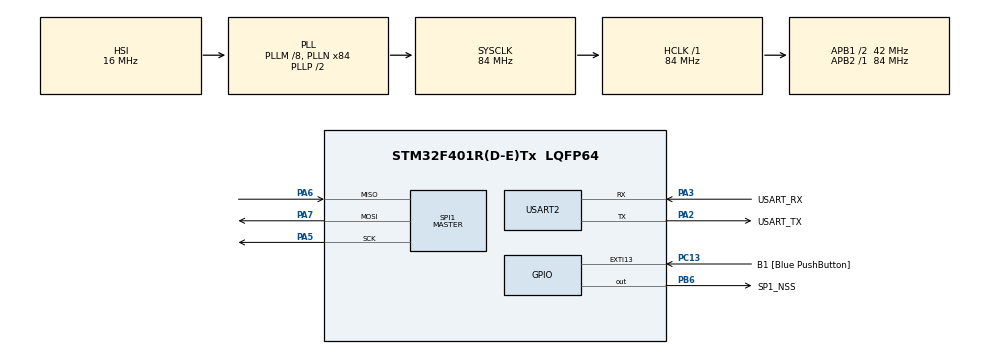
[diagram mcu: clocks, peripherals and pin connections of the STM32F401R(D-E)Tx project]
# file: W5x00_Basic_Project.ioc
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Dma.Request0=SPI1_RX
Dma.Request1=SPI1_TX
Dma.SPI1_RX.0.Direction=DMA_PERIPH_TO_MEMORY
Dma.SPI1_RX.0.FIFOMode=DMA_FIFOMODE_DISABLE
Dma.SPI1_RX.0.Instance=DMA2_Stream0
Dma.SPI1_RX.0.MemDataAlignment=DMA_MDATAALIGN_BYTE
Dma.SPI1_RX.0.MemInc=DMA_MINC_ENABLE
Dma.SPI1_RX.0.Mode=DMA_NORMAL
Dma.SPI1_RX.0.PeriphDataAlignment=DMA_PDATAALIGN_BYTE
Dma.SPI1_RX.0.PeriphInc=DMA_PINC_DISABLE
Dma.SPI1_RX.0.Priority=DMA_PRIORITY_LOW
Dma.SPI1_TX.1.Direction=DMA_MEMORY_TO_PERIPH
Dma.SPI1_TX.1.FIFOMode=DMA_FIFOMODE_DISABLE
Dma.SPI1_TX.1.Instance=DMA2_Stream3
Dma.SPI1_TX.1.MemDataAlignment=DMA_MDATAALIGN_BYTE
Dma.SPI1_TX.1.MemInc=DMA_MINC_ENABLE
Dma.SPI1_TX.1.Mode=DMA_NORMAL
Dma.SPI1_TX.1.PeriphDataAlignment=DMA_PDATAALIGN_BYTE
Dma.SPI1_TX.1.PeriphInc=DMA_PINC_DISABLE
Dma.SPI1_TX.1.Priority=DMA_PRIORITY_LOW
Mcu.Family=STM32F4
Mcu.Name=STM32F401R(D-E)Tx
Mcu.Package=LQFP64
NVIC.DMA2_Stream0_IRQn=true\:0\:0\:false\:false\:true\:false\:true
NVIC.DMA2_Stream3_IRQn=true\:0\:0\:false\:false\:true\:false\:true
NVIC.PriorityGroup=NVIC_PRIORITYGROUP_0
PA13.GPIO_Label=TMS
PA13.Signal=SYS_JTMS-SWDIO
PA14.GPIO_Label=TCK
PA14.Signal=SYS_JTCK-SWCLK
PA2.GPIO_Label=USART_TX
PA2.GPIO_Mode=GPIO_MODE_AF_PP
PA2.GPIO_PuPd=GPIO_NOPULL
PA2.GPIO_Speed=GPIO_SPEED_FREQ_LOW
PA2.Mode=Asynchronous
PA2.Signal=USART2_TX
PA3.GPIO_Label=USART_RX
PA3.GPIO_Mode=GPIO_MODE_AF_PP
PA3.GPIO_PuPd=GPIO_NOPULL
PA3.GPIO_Speed=GPIO_SPEED_FREQ_LOW
PA3.Mode=Asynchronous
PA3.Signal=USART2_RX
PA5.Mode=Full_Duplex_Master
PA5.Signal=SPI1_SCK
PA6.Mode=Full_Duplex_Master
PA6.Signal=SPI1_MISO
PA7.Mode=Full_Duplex_Master
PA7.Signal=SPI1_MOSI
PB3.GPIO_Label=SWO
PB3.Signal=SYS_JTDO-SWO
PB6.GPIO_Label=SP1_NSS
PB6.Signal=GPIO_Output
PC13-ANTI_TAMP.GPIO_Label=B1 [Blue PushButton]
PC13-ANTI_TAMP.GPIO_ModeDefaultEXTI=GPIO_MODE_IT_FALLING
PC13-ANTI_TAMP.GPIO_PuPd=GPIO_NOPULL
PC13-ANTI_TAMP.Signal=GPXTI13
PC14-OSC32_IN.Mode=LSE-External-Oscillator
PC14-OSC32_IN.Signal=RCC_OSC32_IN
PC15-OSC32_OUT.Mode=LSE-External-Oscillator
PC15-OSC32_OUT.Signal=RCC_OSC32_OUT
PH0\ -\ OSC_IN.Mode=HSE-External-Clock-Source
PH0\ -\ OSC_IN.Signal=RCC_OSC_IN
PH1\ -\ OSC_OUT.Mode=HSE-External-Clock-Source
PH1\ -\ OSC_OUT.Signal=RCC_OSC_OUT
ProjectManager.HeapSize=0x200
ProjectManager.StackSize=0x400
ProjectManager.TargetToolchain=STM32CubeIDE
RCC.48MHZClocksFreq_Value=24000000
RCC.AHBFreq_Value=84000000
RCC.APB1CLKDivider=RCC_HCLK_DIV2
RCC.APB1Freq_Value=42000000
RCC.APB1TimFreq_Value=84000000
RCC.APB2Freq_Value=84000000
RCC.APB2TimFreq_Value=84000000
RCC.CortexFreq_Value=84000000
RCC.HCLKFreq_Value=84000000
RCC.HSE_VALUE=8000000
RCC.HSI_VALUE=16000000
RCC.PLLM=8
RCC.PLLN=84
RCC.PLLQ=7
RCC.SYSCLKFreq_VALUE=84000000
RCC.SYSCLKSource=RCC_SYSCLKSOURCE_PLLCLK
RCC.VCOOutputFreq_Value=168000000
SPI1.Direction=SPI_DIRECTION_2LINES
SPI1.Mode=SPI_MODE_MASTER
SPI1.VirtualType=VM_MASTER
USART2.VirtualMode=VM_ASYNC
board=NUCLEO-F401RE

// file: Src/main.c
/* USER CODE BEGIN Header */
/**
  ******************************************************************************
  * @file           : main.c
  * @brief          : Main program body
  ******************************************************************************
  * @attention
  *
  * <h2><center>&copy; Copyright (c) 2019 STMicroelectronics.
  * All rights reserved.</center></h2>
  *
  * This software component is licensed by ST under BSD 3-Clause license,
  * the "License"; You may not use this file except in compliance with the
  * License. You may obtain a copy of the License at:
  *                        opensource.org/licenses/BSD-3-Clause
  *
  ******************************************************************************
  */
/* USER CODE END Header */

#include "main.h"

/* USER CODE BEGIN Includes */
#include "loopback.h"
#include "wizchip_conf.h"
#include "wizchip_init.h"
#include <stdio.h>
/* USER CODE END Includes */

/* USER CODE BEGIN PTD */
#define True_STD
/* USER CODE END PTD */

SPI_HandleTypeDef hspi1;
DMA_HandleTypeDef hdma_spi1_rx;
DMA_HandleTypeDef hdma_spi1_tx;

UART_HandleTypeDef huart2;

/* USER CODE BEGIN PV */
wiz_NetInfo gWIZNETINFO = { .mac = {0x00,0x08,0xdc,0xff,0xff,0xff},
							.ip = {192,168,0,13},
							.sn = {255, 255, 255, 0},
							.gw = {192, 168, 0, 1},
							.dns = {168, 126, 63, 1}
							};
uint8_t destip[4] = {192, 168, 0, 200};                  //DST_IP Address

uint8_t data_buf[2048];

void print_network_information(void);
/* USER CODE END PV */

void SystemClock_Config(void);
static void MX_GPIO_Init(void);
static void MX_DMA_Init(void);
static void MX_SPI1_Init(void);
static void MX_USART2_UART_Init(void);
/* USER CODE BEGIN PFP */
uint8_t rxData[2];
#ifdef KEIL
     #ifdef __GNUC__
     //With GCC, small printf (option LD Linker->Libraries->Small printf
     //set to 'Yes') calls __io_putchar()
         #define PUTCHAR_PROTOTYPE int __io_putchar(int ch)
		#else
				 #define PUTCHAR_PROTOTYPE int fputc(int ch, FILE *f)
		#endif /* __GNUC__*/
#endif

#ifdef True_STD
	int _write(int fd, char *str, int len)
	{
		for(int i=0; i<len; i++)
		{
			HAL_UART_Transmit(&huart2, (uint8_t *)&str[i], 1, 0xFFFF);
		}
		return len;
	}
#endif

void HAL_UART_RxCpltCallback(UART_HandleTypeDef *huart) {

    /*
        This will be called once data is received successfully,
        via interrupts.
    */

     /*
       loop back received data
     */
     HAL_UART_Receive_IT(&huart2, rxData, 1);
     HAL_UART_Transmit(&huart2, rxData, 1, 1000);
}
/* USER CODE END PFP */

int main(void)
{

  /* MCU Configuration--------------------------------------------------------*/

  /* Reset of all peripherals, Initializes the Flash interface and the Systick. */
  HAL_Init();

  /* Configure the system clock */
  SystemClock_Config();

  /* Initialize all configured peripherals */
  MX_GPIO_Init();
  MX_DMA_Init();

  MX_USART2_UART_Init();
  /* USER CODE BEGIN 2 */
  HAL_UART_Receive_IT(&huart2, rxData, 1);
  printf("System start.\r\n");

#if (_WIZCHIP_IO_MODE_ & _WIZCHIP_IO_MODE_SPI_) ||(_WIZCHIP_IO_MODE_ & _WIZCHIP_IO_MODE_SPI_VDM_)||(_WIZCHIP_IO_MODE_ & _WIZCHIP_IO_MODE_SPI_FDM)
	// SPI method callback registration
	reg_wizchip_spi_cbfunc(WIZnet_SpiReadByte, WIZnet_SpiWriteByte);
	// CS function register
	reg_wizchip_cs_cbfunc(WIZnet_CsEnable,WIZnet_CsDisable);
#else
	// Indirect bus method callback registration
	//reg_wizchip_bus_cbfunc(busReadByte, busWriteByte);
#endif

#if _WIZCHIP_IO_MODE_ == _WIZCHIP_IO_MODE_BUS_INDIR_
	//You have to add the FSMC function
#else
	  MX_SPI1_Init();
#endif

#if _WIZCHIP_ == W5100S || _WIZCHIP_ == W6100
  ctlwizchip(CW_SYS_UNLOCK,& syslock);
#endif
  ctlnetwork(CN_SET_NETINFO,&gWIZNETINFO);

  printf("VERSION(%x) = %.2x \r\n", VERSIONR,getVERSIONR());
  print_network_information();
  /* USER CODE END 2 */

  /* Infinite loop */
  while (1)
  {

    /* USER CODE BEGIN 3 */
	  loopback_tcps(0, data_buf, 5000);
	  loopback_tcpc(1,data_buf,destip,5001);
  }
  /* USER CODE END 3 */
}

void SystemClock_Config(void)
{
  RCC_OscInitTypeDef RCC_OscInitStruct = {0};
  RCC_ClkInitTypeDef RCC_ClkInitStruct = {0};

  /** Configure the main internal regulator output voltage
  */
  __HAL_RCC_PWR_CLK_ENABLE();
  __HAL_PWR_VOLTAGESCALING_CONFIG(PWR_REGULATOR_VOLTAGE_SCALE2);
  /** Initializes the CPU, AHB and APB busses clocks
  */
  RCC_OscInitStruct.OscillatorType = RCC_OSCILLATORTYPE_HSI;
  RCC_OscInitStruct.HSIState = RCC_HSI_ON;
  RCC_OscInitStruct.HSICalibrationValue = RCC_HSICALIBRATION_DEFAULT;
  RCC_OscInitStruct.PLL.PLLState = RCC_PLL_ON;
  RCC_OscInitStruct.PLL.PLLSource = RCC_PLLSOURCE_HSI;
  RCC_OscInitStruct.PLL.PLLM = 8;
  RCC_OscInitStruct.PLL.PLLN = 84;
  RCC_OscInitStruct.PLL.PLLP = RCC_PLLP_DIV2;
  RCC_OscInitStruct.PLL.PLLQ = 7;
  if (HAL_RCC_OscConfig(&RCC_OscInitStruct) != HAL_OK)
  {
    Error_Handler();
  }
  /** Initializes the CPU, AHB and APB busses clocks
  */
  RCC_ClkInitStruct.ClockType = RCC_CLOCKTYPE_HCLK|RCC_CLOCKTYPE_SYSCLK
                              |RCC_CLOCKTYPE_PCLK1|RCC_CLOCKTYPE_PCLK2;
  RCC_ClkInitStruct.SYSCLKSource = RCC_SYSCLKSOURCE_PLLCLK;
  RCC_ClkInitStruct.AHBCLKDivider = RCC_SYSCLK_DIV1;
  RCC_ClkInitStruct.APB1CLKDivider = RCC_HCLK_DIV2;
  RCC_ClkInitStruct.APB2CLKDivider = RCC_HCLK_DIV1;

  if (HAL_RCC_ClockConfig(&RCC_ClkInitStruct, FLASH_LATENCY_2) != HAL_OK)
  {
    Error_Handler();
  }
}

static void MX_SPI1_Init(void)
{

  /* SPI1 parameter configuration*/
  hspi1.Instance = SPI1;
  hspi1.Init.Mode = SPI_MODE_MASTER;
  hspi1.Init.Direction = SPI_DIRECTION_2LINES;
  hspi1.Init.DataSize = SPI_DATASIZE_8BIT;
  hspi1.Init.CLKPolarity = SPI_POLARITY_LOW;
  hspi1.Init.CLKPhase = SPI_PHASE_1EDGE;
  hspi1.Init.NSS = SPI_NSS_SOFT;
  hspi1.Init.BaudRatePrescaler = SPI_BAUDRATEPRESCALER_2;
  hspi1.Init.FirstBit = SPI_FIRSTBIT_MSB;
  hspi1.Init.TIMode = SPI_TIMODE_DISABLE;
  hspi1.Init.CRCCalculation = SPI_CRCCALCULATION_DISABLE;
  hspi1.Init.CRCPolynomial = 10;
  if (HAL_SPI_Init(&hspi1) != HAL_OK)
  {
    Error_Handler();
  }

}

static void MX_USART2_UART_Init(void)
{

  huart2.Instance = USART2;
  huart2.Init.BaudRate = 115200;
  huart2.Init.WordLength = UART_WORDLENGTH_8B;
  huart2.Init.StopBits = UART_STOPBITS_1;
  huart2.Init.Parity = UART_PARITY_NONE;
  huart2.Init.Mode = UART_MODE_TX_RX;
  huart2.Init.HwFlowCtl = UART_HWCONTROL_NONE;
  huart2.Init.OverSampling = UART_OVERSAMPLING_16;
  if (HAL_UART_Init(&huart2) != HAL_OK)
  {
    Error_Handler();
  }

}

static void MX_DMA_Init(void)
{

  /* DMA controller clock enable */
  __HAL_RCC_DMA2_CLK_ENABLE();

  /* DMA interrupt init */
  /* DMA2_Stream0_IRQn interrupt configuration */
  HAL_NVIC_SetPriority(DMA2_Stream0_IRQn, 0, 0);
  HAL_NVIC_EnableIRQ(DMA2_Stream0_IRQn);
  /* DMA2_Stream3_IRQn interrupt configuration */
  HAL_NVIC_SetPriority(DMA2_Stream3_IRQn, 0, 0);
  HAL_NVIC_EnableIRQ(DMA2_Stream3_IRQn);

}

static void MX_GPIO_Init(void)
{
  GPIO_InitTypeDef GPIO_InitStruct = {0};

  /* GPIO Ports Clock Enable */
  __HAL_RCC_GPIOC_CLK_ENABLE();
  __HAL_RCC_GPIOH_CLK_ENABLE();
  __HAL_RCC_GPIOA_CLK_ENABLE();
  __HAL_RCC_GPIOB_CLK_ENABLE();

  /*Configure GPIO pin Output Level */
  HAL_GPIO_WritePin(SP1_NSS_GPIO_Port, SP1_NSS_Pin, GPIO_PIN_RESET);

  /*Configure GPIO pin : B1_Pin */
  GPIO_InitStruct.Pin = B1_Pin;
  GPIO_InitStruct.Mode = GPIO_MODE_IT_FALLING;
  GPIO_InitStruct.Pull = GPIO_NOPULL;
  HAL_GPIO_Init(B1_GPIO_Port, &GPIO_InitStruct);

  /*Configure GPIO pin : SP1_NSS_Pin */
  GPIO_InitStruct.Pin = SP1_NSS_Pin;
  GPIO_InitStruct.Mode = GPIO_MODE_OUTPUT_PP;
  GPIO_InitStruct.Pull = GPIO_NOPULL;
  GPIO_InitStruct.Speed = GPIO_SPEED_FREQ_LOW;
  HAL_GPIO_Init(SP1_NSS_GPIO_Port, &GPIO_InitStruct);

}

/* USER CODE BEGIN 4 */
void print_network_information(void)
{
	wizchip_getnetinfo(&gWIZNETINFO);
	printf("Mac address: %02x:%02x:%02x:%02x:%02x:%02x\n\r",gWIZNETINFO.mac[0],gWIZNETINFO.mac[1],gWIZNETINFO.mac[2],gWIZNETINFO.mac[3],gWIZNETINFO.mac[4],gWIZNETINFO.mac[5]);
	printf("IP address : %d.%d.%d.%d\n\r",gWIZNETINFO.ip[0],gWIZNETINFO.ip[1],gWIZNETINFO.ip[2],gWIZNETINFO.ip[3]);
	printf("SN Mask	   : %d.%d.%d.%d\n\r",gWIZNETINFO.sn[0],gWIZNETINFO.sn[1],gWIZNETINFO.sn[2],gWIZNETINFO.sn[3]);
	printf("Gate way   : %d.%d.%d.%d\n\r",gWIZNETINFO.gw[0],gWIZNETINFO.gw[1],gWIZNETINFO.gw[2],gWIZNETINFO.gw[3]);
	printf("DNS Server : %d.%d.%d.%d\n\r",gWIZNETINFO.dns[0],gWIZNETINFO.dns[1],gWIZNETINFO.dns[2],gWIZNETINFO.dns[3]);

}
/* USER CODE END 4 */

void Error_Handler(void)
{
}

/************************ (C) COPYRIGHT STMicroelectronics *****END OF FILE****/
